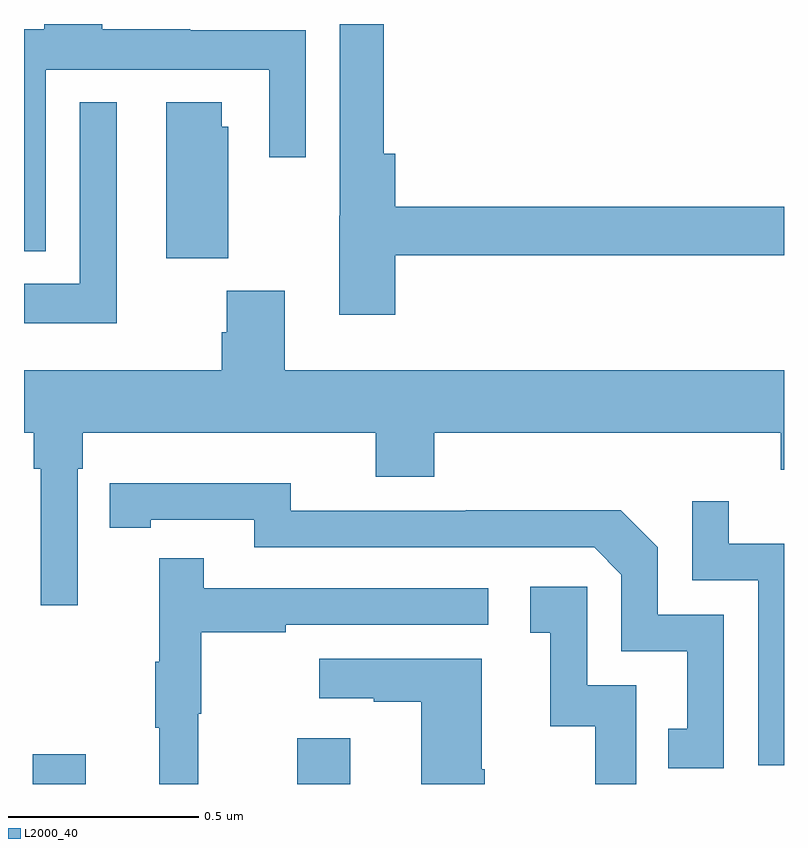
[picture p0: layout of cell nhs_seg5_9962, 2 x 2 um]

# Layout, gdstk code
import gdstk
lib = gdstk.Library(unit=1e-6, precision=1e-09)
def R(c, l, rs):  # rectangles x0, y0, x1, y1
    for r in rs: c.add(gdstk.rectangle(r[:2], r[2:], *l))
def P(c, l, *ps):  # polygons
    for p in ps: c.add(gdstk.Polygon(p, *l))
L2000_40 = (2000, 40)

nhs_seg5_9962 = lib.new_cell('nhs_seg5_9962')
R(nhs_seg5_9962, L2000_40, [(240.023,891.799,240.163,891.877), (240.719,891.799,240.859,891.919)])
P(nhs_seg5_9962, L2000_40, [(240.977,893.19),(242,893.19),(242,893.318),(240.977,893.318),(240.977,893.458),(240.947,893.458),(240.947,893.799),(240.831,893.799),(240.831,893.295),(240.83,893.295),(240.83,893.034),(240.977,893.034)],
  [(240.057,893.678),(240.645,893.678),(240.645,893.448),(240.741,893.448),(240.741,893.782),(240.437,893.782),(240.437,893.785),(240.206,893.785),(240.206,893.799),(240.053,893.799),(240.053,893.785),(240,893.785),(240,893.201),(240.057,893.201)],
  [(240.538,893.529),(240.52,893.529),(240.52,893.593),(240.374,893.593),(240.374,893.182),(240.538,893.182)],
  [(240.244,893.593),(240.147,893.593),(240.147,893.116),(240,893.116),(240,893.012),(240.244,893.012)],
  [(240.926,892.607),(241.079,892.607),(241.079,892.724),(241.991,892.724),(241.991,892.626),(242,892.626),(242,892.888),(240.686,892.888),(240.686,893.097),(240.533,893.097),(240.533,892.988),(240.521,892.988),(240.521,892.888),(240,892.888),(240,892.724),(240.025,892.724),(240.025,892.628),(240.044,892.628),(240.044,892.269),(240.141,892.269),(240.141,892.628),(240.155,892.628),(240.155,892.724),(240.926,892.724)],
  [(241.842,892.245),(241.668,892.245),(241.668,892.422),(241.57,892.52),(241.162,892.52),(241.162,892.518),(240.702,892.518),(240.702,892.591),(240.334,892.591),(240.334,892.59),(240.226,892.59),(240.226,892.474),(240.334,892.474),(240.334,892.494),(240.606,892.494),(240.606,892.422),(241.5,892.422),(241.572,892.35),(241.572,892.149),(241.745,892.149),(241.745,891.945),(241.696,891.945),(241.696,891.84),(241.842,891.84)],
  [(242,892.431),(241.855,892.431),(241.855,892.543),(241.758,892.543),(241.758,892.335),(241.932,892.335),(241.932,891.849),(242,891.849)],
  [(240.458,891.984),(240.466,891.984),(240.466,892.198),(240.689,892.198),(240.689,892.218),(241.222,892.218),(241.222,892.314),(240.473,892.314),(240.473,892.393),(240.356,892.393),(240.356,892.121),(240.345,892.121),(240.345,891.947),(240.356,891.947),(240.356,891.799),(240.458,891.799)],
  [(241.611,892.059),(241.482,892.059),(241.482,892.318),(241.332,892.318),(241.332,892.197),(241.385,892.197),(241.385,891.951),(241.503,891.951),(241.503,891.799),(241.611,891.799)],
  [(241.212,891.838),(241.204,891.838),(241.204,892.129),(240.777,892.129),(240.777,892.025),(240.92,892.025),(240.92,892.015),(241.046,892.015),(241.046,891.799),(241.212,891.799)])

lib.write_gds('nhs_seg5_9962.gds')
